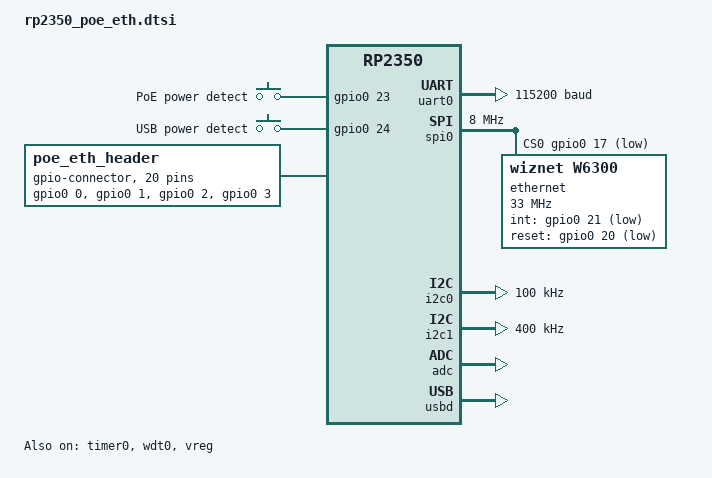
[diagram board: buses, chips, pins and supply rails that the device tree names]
/*
 * Copyright (c) 2026 Richard Osterloh
 *
 * SPDX-License-Identifier: Apache-2.0
 *
 * Waveshare RP2350-POE-ETH: RP2350A + WIZnet W6300 hardwired TCP/IP
 * Ethernet controller, with an 802.3af PoE module header.
 *
 * Pin assignments are taken from the vendor's board support code at
 * https://github.com/waveshareteam/RP2350-POE-ETH
 * (examples/C/01-MQTT/lib/Config/DEV_Config.h and mqtt_execute_commands.h).
 * They match the WIZnet W5500-EVB-Pico2 reference wiring exactly.
 */

#include <freq.h>

#include <zephyr/dt-bindings/i2c/i2c.h>
#include <zephyr/dt-bindings/pwm/pwm.h>
#include <zephyr/dt-bindings/gpio/gpio.h>
#include <zephyr/dt-bindings/led/led.h>

#include "rp2350_poe_eth-pinctrl.dtsi"

/ {
	chosen {
		zephyr,sram = &sram0;
		zephyr,flash = &flash0;
		zephyr,flash-controller = &qmi;
		zephyr,console = &uart0;
		zephyr,shell-uart = &uart0;
	};

	aliases {
		watchdog0 = &wdt0;
		led-strip = &ws2812;
	};

	/*
	 * Power source sense lines. Both are driven by the onboard supply
	 * monitoring: PoE detect is high when the 802.3af module is supplying
	 * the board, USB detect is high when VBUS is present.
	 */
	power_sense: power-sense {
		compatible = "gpio-keys";

		poe_detect: poe_detect {
			gpios = <&gpio0 23 GPIO_ACTIVE_HIGH>;
			label = "PoE power detect";
		};

		usb_detect: usb_detect {
			gpios = <&gpio0 24 GPIO_ACTIVE_HIGH>;
			label = "USB power detect";
		};
	};

	/*
	 * 20 castellated GPIOs are broken out. GP16-GP21 are consumed by the
	 * W6300, GP23-GP25 and GP29 by the power sense / status LED / VSYS
	 * divider, so they are not exposed here.
	 */
	poe_eth_header: connector {
		compatible = "gpio-connector";
		#gpio-cells = <2>;
		gpio-map-mask = <0xffffffff 0xffffffc0>;
		gpio-map-pass-thru = <0 0x3f>;
		gpio-map = <0 0 &gpio0 0 0>,	/* GP0 */
			   <1 0 &gpio0 1 0>,	/* GP1 */
			   <2 0 &gpio0 2 0>,	/* GP2 */
			   <3 0 &gpio0 3 0>,	/* GP3 */
			   <4 0 &gpio0 4 0>,	/* GP4 */
			   <5 0 &gpio0 5 0>,	/* GP5 */
			   <6 0 &gpio0 6 0>,	/* GP6 */
			   <7 0 &gpio0 7 0>,	/* GP7 */
			   <8 0 &gpio0 8 0>,	/* GP8 */
			   <9 0 &gpio0 9 0>,	/* GP9 */
			   <10 0 &gpio0 10 0>,	/* GP10 */
			   <11 0 &gpio0 11 0>,	/* GP11 */
			   <12 0 &gpio0 12 0>,	/* GP12 */
			   <13 0 &gpio0 13 0>,	/* GP13 */
			   <14 0 &gpio0 14 0>,	/* GP14 */
			   <15 0 &gpio0 15 0>,	/* GP15 */
			   <22 0 &gpio0 22 0>,	/* GP22 */
			   <26 0 &gpio0 26 0>,	/* GP26 */
			   <27 0 &gpio0 27 0>,	/* GP27 */
			   <28 0 &gpio0 28 0>;	/* GP28 */
	};
};

/*
 * 16 MB onboard NOR flash, per the vendor's product description. If your
 * board carries a smaller part, shrink this (and the partition layout in
 * the board-level .dts files) to match.
 */
&flash0 {
	reg = <0x10000000 DT_SIZE_M(16)>;
	ranges = <0x0 0x10000000 DT_SIZE_M(16)>;
};

&uart0 {
	status = "okay";
	current-speed = <115200>;
	pinctrl-0 = <&uart0_default>;
	pinctrl-names = "default";
};

&gpio0 {
	status = "okay";
};

&spi0 {
	status = "okay";
	clock-frequency = <DT_FREQ_M(8)>;
	pinctrl-0 = <&spi0_default>;
	pinctrl-names = "default";
	cs-gpios = <&gpio0 17 GPIO_ACTIVE_LOW>;

	ethernet: w6300@0 {
		compatible = "wiznet,w6300";
		reg = <0x0>;
		spi-max-frequency = <DT_FREQ_M(33)>;
		int-gpios = <&gpio0 21 (GPIO_ACTIVE_LOW | GPIO_PULL_UP)>;
		reset-gpios = <&gpio0 20 GPIO_ACTIVE_LOW>;
		zephyr,random-mac-address;
		status = "okay";
	};
};

&i2c0 {
	status = "okay";
	clock-frequency = <I2C_BITRATE_STANDARD>;
	pinctrl-0 = <&i2c0_default>;
	pinctrl-names = "default";
};

&i2c1 {
	status = "okay";
	clock-frequency = <I2C_BITRATE_FAST>;
	pinctrl-0 = <&i2c1_default>;
	pinctrl-names = "default";
};

/* ADC3 / GP29 sits on the VSYS divider. */
&adc {
	status = "okay";
	pinctrl-0 = <&adc_default>;
	pinctrl-names = "default";
};

&pio0 {
	status = "okay";

	pio-ws2812 {
		compatible = "worldsemi,ws2812-rpi_pico-pio";
		status = "okay";
		pinctrl-0 = <&ws2812_pio0_default>;
		pinctrl-names = "default";
		bit-waveform = <3>, <3>, <4>;

		ws2812: ws2812 {
			status = "okay";
			gpios = <&gpio0 25 GPIO_ACTIVE_HIGH>;
			chain-length = <1>;
			color-mapping = <LED_COLOR_ID_GREEN
					 LED_COLOR_ID_RED
					 LED_COLOR_ID_BLUE>;
			reset-delay = <280>;
			frequency = <DT_FREQ_K(800)>;
		};
	};
};

&pio1 {
	status = "okay";
};

&timer0 {
	status = "okay";
};

&wdt0 {
	status = "okay";
};

&vreg {
	status = "okay";
};

zephyr_udc0: &usbd {
	status = "okay";
};

pico_spi: &spi0 {};

pico_i2c0: &i2c0 {};

pico_i2c1: &i2c1 {};

pico_serial: &uart0 {};
